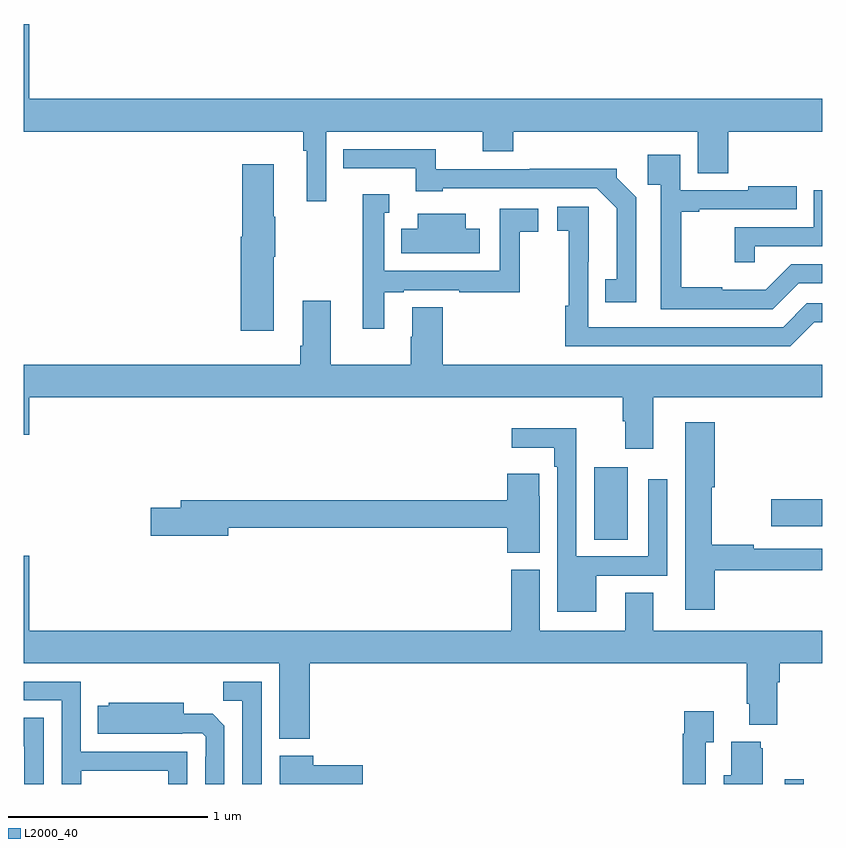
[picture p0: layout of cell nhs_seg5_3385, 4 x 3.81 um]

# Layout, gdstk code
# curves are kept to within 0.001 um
import gdstk
lib = gdstk.Library(unit=1e-6, precision=1e-09)
def R(c, l, rs):  # rectangles x0, y0, x1, y1
    for r in rs: c.add(gdstk.rectangle(r[:2], r[2:], *l))
def P(c, l, *ps):  # polygons
    for p in ps: c.add(gdstk.Polygon(p, *l))
L2000_40 = (2000, 40)

nhs_seg5_3385 = lib.new_cell('nhs_seg5_3385')
R(nhs_seg5_3385, L2000_40, [(312.813,878.799,312.909,878.824), (311.858,880.024,312.025,880.387), (312.744,880.091,313,880.226)])
P(nhs_seg5_3385, L2000_40, [(310.515,882.068),(311.3,882.068),(311.3,881.969),(311.453,881.969),(311.453,882.068),(312.377,882.068),(312.377,881.86),(312.53,881.86),(312.53,882.068),(313,882.068),(313,882.232),(309.028,882.232),(309.028,882.607),(309,882.607),(309,882.068),(310.399,882.068),(310.399,881.972),(310.418,881.972),(310.418,881.718),(310.515,881.718)],
  [(312.069,881.738),(311.97,881.837),(311.97,881.882),(311.536,881.882),(311.536,881.88),(311.064,881.88),(311.064,881.979),(310.6,881.979),(310.6,881.883),(310.964,881.883),(310.964,881.768),(311.1,881.768),(311.1,881.784),(311.871,881.784),(311.972,881.683),(311.972,881.327),(311.914,881.327),(311.914,881.214),(312.069,881.214)],
  [(312.882,881.307),(313,881.307),(313,881.403),(312.846,881.403),(312.718,881.275),(312.5,881.275),(312.5,881.287),(312.293,881.287),(312.293,881.667),(312.385,881.667),(312.385,881.679),(312.872,881.679),(312.872,881.794),(312.629,881.794),(312.629,881.775),(312.288,881.775),(312.288,881.953),(312.127,881.953),(312.127,881.801),(312.192,881.801),(312.192,881.178),(312.753,881.178)],
  [(310.252,881.441),(310.26,881.441),(310.26,881.641),(310.252,881.641),(310.252,881.905),(310.094,881.905),(310.094,881.541),(310.088,881.541),(310.088,881.07),(310.252,881.07)],
  [(312.663,881.493),(313,881.493),(313,881.775),(312.957,881.775),(312.957,881.589),(312.562,881.589),(312.562,881.412),(312.663,881.412)],
  [(310.807,881.262),(310.903,881.262),(310.903,881.274),(311.182,881.274),(311.182,881.262),(311.484,881.262),(311.484,881.566),(311.578,881.566),(311.578,881.682),(311.385,881.682),(311.385,881.37),(310.806,881.37),(310.806,881.661),(310.831,881.661),(310.831,881.755),(310.698,881.755),(310.698,881.323),(310.697,881.323),(310.697,881.079),(310.807,881.079)],
  [(312.96,881.112),(313,881.112),(313,881.208),(312.924,881.208),(312.804,881.088),(311.829,881.088),(311.83,881.692),(311.673,881.692),(311.673,881.571),(311.731,881.571),(311.731,881.195),(311.713,881.195),(311.713,880.992),(312.84,880.992)],
  [(311.284,881.581),(311.215,881.581),(311.215,881.656),(310.973,881.656),(310.973,881.581),(310.891,881.581),(310.891,881.459),(311.284,881.459)],
  [(311.099,881.189),(310.946,881.189),(310.946,881.039),(310.939,881.039),(310.939,880.9),(310.537,880.9),(310.537,881.221),(310.397,881.221),(310.397,880.996),(310.385,880.996),(310.385,880.9),(309,880.9),(309,880.548),(309.028,880.548),(309.028,880.736),(312.002,880.736),(312.002,880.616),(312.014,880.616),(312.014,880.479),(312.154,880.479),(312.154,880.736),(313,880.736),(313,880.9),(311.099,880.9)],
  [(312.461,879.87),(313,879.87),(313,879.978),(312.656,879.978),(312.656,879.998),(312.448,879.998),(312.448,880.287),(312.461,880.287),(312.461,880.612),(312.314,880.612),(312.314,879.672),(312.461,879.672)],
  [(311.869,879.843),(312.225,879.843),(312.225,880.327),(312.129,880.327),(312.129,879.939),(311.769,879.939),(311.769,880.582),(311.445,880.582),(311.445,880.484),(311.657,880.484),(311.657,880.388),(311.673,880.388),(311.673,879.662),(311.869,879.662)],
  [(311.584,880.241),(311.583,880.241),(311.583,880.354),(311.423,880.354),(311.423,880.22),(309.785,880.22),(309.785,880.184),(309.636,880.184),(309.636,880.042),(310.024,880.042),(310.024,880.084),(311.423,880.084),(311.423,879.958),(311.584,879.958)],
  [(310.433,879.404),(312.623,879.404),(312.623,879.202),(312.635,879.202),(312.635,879.095),(312.775,879.095),(312.775,879.308),(312.788,879.308),(312.788,879.404),(313,879.404),(313,879.568),(312.154,879.568),(312.154,879.758),(312.014,879.758),(312.014,879.568),(311.584,879.568),(311.584,879.873),(311.441,879.873),(311.441,879.568),(309.028,879.568),(309.028,879.943),(309,879.943),(309,879.404),(310.28,879.404),(310.28,879.026),(310.433,879.026)],
  [(309.287,878.865),(309.723,878.865),(309.723,878.799),(309.819,878.799),(309.819,878.961),(309.285,878.961),(309.285,879.312),(309,879.312),(309,879.219),(309.189,879.219),(309.189,878.799),(309.287,878.799)],
  [(310.191,879.312),(310,879.312),(310,879.217),(310.095,879.217),(310.095,878.799),(310.191,878.799)],
  [(310.005,879.092),(309.946,879.151),(309.802,879.151),(309.802,879.205),(309.426,879.205),(309.426,879.19),(309.37,879.19),(309.37,879.05),(309.794,879.05),(309.794,879.054),(309.894,879.054),(309.912,879.036),(309.912,878.936),(309.909,878.936),(309.909,878.799),(310.005,878.799)],
  [(312.417,879.007),(312.457,879.007),(312.457,879.163),(312.309,879.163),(312.309,879.05),(312.301,879.05),(312.301,878.799),(312.417,878.799)],
  [(309.099,879.131),(309,879.131),(309,878.988),(309.003,878.988),(309.003,878.799),(309.099,878.799)],
  [(312.703,878.979),(312.692,878.979),(312.692,879.01),(312.545,879.01),(312.545,878.842),(312.506,878.842),(312.506,878.799),(312.703,878.799)],
  [(310.699,878.894),(310.45,878.894),(310.45,878.941),(310.283,878.941),(310.283,878.799),(310.699,878.799)])

lib.write_gds('nhs_seg5_3385.gds')
